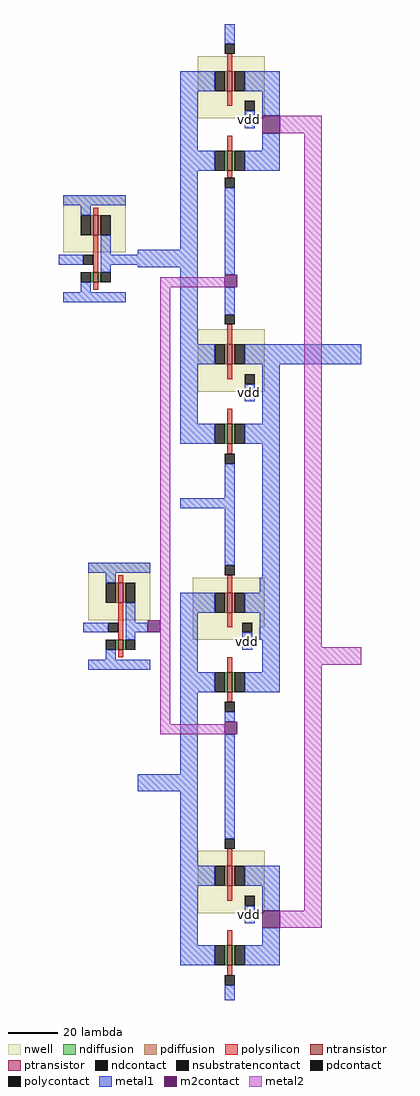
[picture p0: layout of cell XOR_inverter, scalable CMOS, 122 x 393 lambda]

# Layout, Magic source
magic
tech scmos
<< nwell >>
rect 24 355 51 380
rect -30 301 -5 324
rect 24 245 51 270
rect -20 153 5 176
rect 22 150 51 170
rect 22 145 49 150
rect 24 35 51 60
<< ntransistor >>
rect 36 334 38 342
rect -18 289 -16 293
rect 36 224 38 232
rect -8 141 -6 145
rect 36 124 38 132
rect 36 14 38 22
<< ptransistor >>
rect 36 366 38 374
rect -18 308 -16 316
rect 36 256 38 264
rect -8 160 -6 168
rect 36 156 38 164
rect 36 46 38 54
<< ndiffusion >>
rect 35 334 36 342
rect 38 334 39 342
rect -19 289 -18 293
rect -16 289 -15 293
rect 35 224 36 232
rect 38 224 39 232
rect -9 141 -8 145
rect -6 141 -5 145
rect 35 124 36 132
rect 38 124 39 132
rect 35 14 36 22
rect 38 14 39 22
<< pdiffusion >>
rect 35 366 36 374
rect 38 366 39 374
rect -19 308 -18 316
rect -16 308 -15 316
rect 35 256 36 264
rect 38 256 39 264
rect -9 160 -8 168
rect -6 160 -5 168
rect 35 156 36 164
rect 38 156 39 164
rect 35 46 36 54
rect 38 46 39 54
<< ndcontact >>
rect 31 334 35 342
rect 39 334 43 342
rect -23 289 -19 293
rect -15 289 -11 293
rect 31 224 35 232
rect 39 224 43 232
rect -13 141 -9 145
rect -5 141 -1 145
rect 31 124 35 132
rect 39 124 43 132
rect 31 14 35 22
rect 39 14 43 22
<< pdcontact >>
rect 31 366 35 374
rect 39 366 43 374
rect -23 308 -19 316
rect -15 308 -11 316
rect 31 256 35 264
rect 39 256 43 264
rect -13 160 -9 168
rect -5 160 -1 168
rect 31 156 35 164
rect 39 156 43 164
rect 31 46 35 54
rect 39 46 43 54
<< nsubstratencontact >>
rect 43 358 47 362
rect 43 248 47 252
rect 42 148 46 152
rect 43 38 47 42
<< polysilicon >>
rect 36 374 38 381
rect 36 360 38 366
rect 36 342 38 348
rect 36 331 38 334
rect -18 316 -16 319
rect -18 293 -16 308
rect -18 286 -16 289
rect 36 264 38 272
rect 36 250 38 256
rect 36 232 38 238
rect 36 220 38 224
rect -8 168 -6 171
rect 36 164 38 171
rect -8 145 -6 160
rect 36 150 38 156
rect -8 138 -6 141
rect 36 132 38 138
rect 36 120 38 124
rect 36 54 38 61
rect 36 40 38 46
rect 36 22 38 28
rect 36 10 38 14
<< polycontact >>
rect 35 381 39 385
rect 35 327 39 331
rect -22 296 -18 300
rect 35 272 39 276
rect 35 216 39 220
rect 35 171 39 175
rect -12 148 -8 152
rect 35 116 39 120
rect 35 61 39 65
rect 35 6 39 10
<< metal1 >>
rect 35 385 39 393
rect 17 366 31 374
rect 43 366 57 374
rect 17 342 24 366
rect 43 351 47 358
rect 50 356 57 366
rect 50 342 57 349
rect 17 334 31 342
rect 43 334 57 342
rect -30 320 -5 324
rect -23 316 -19 320
rect -15 300 -11 308
rect 17 302 24 334
rect 0 300 24 302
rect -32 296 -22 300
rect -15 296 24 300
rect -15 293 -11 296
rect 0 295 24 296
rect -23 285 -19 289
rect -30 281 -5 285
rect 17 264 24 295
rect 35 292 39 327
rect 35 276 39 287
rect 17 256 31 264
rect 43 256 90 264
rect 17 232 24 256
rect 43 241 47 248
rect 50 232 57 256
rect 17 224 31 232
rect 43 224 57 232
rect 35 202 39 216
rect 17 198 39 202
rect -20 172 5 176
rect 35 175 39 198
rect -13 168 -9 172
rect 50 170 57 224
rect 49 164 57 170
rect -5 152 -1 160
rect 17 156 31 164
rect 43 156 57 164
rect -22 148 -12 152
rect -5 148 4 152
rect -5 145 -1 148
rect -13 137 -9 141
rect -20 133 5 137
rect 17 132 24 156
rect 42 141 46 148
rect 49 145 57 156
rect 50 132 57 145
rect 17 124 31 132
rect 43 124 57 132
rect 17 91 24 124
rect 0 84 24 91
rect 17 54 24 84
rect 35 112 39 116
rect 35 65 39 107
rect 17 46 31 54
rect 43 46 57 54
rect 17 22 24 46
rect 43 31 47 38
rect 50 36 57 46
rect 50 22 57 29
rect 17 14 31 22
rect 43 14 57 22
rect 35 0 39 6
<< m2contact >>
rect 50 349 57 356
rect 35 287 40 292
rect 4 148 9 153
rect 35 107 40 112
rect 50 29 57 36
<< metal2 >>
rect 57 349 74 356
rect 9 287 35 291
rect 9 111 13 287
rect 67 142 74 349
rect 67 135 90 142
rect 9 107 35 111
rect 67 36 74 135
rect 57 29 74 36
<< labels >>
rlabel metal1 43 351 47 358 1 vdd
rlabel metal1 43 241 47 248 1 vdd
rlabel metal1 42 141 46 148 1 vdd
rlabel metal1 43 31 47 38 1 vdd
<< end >>
